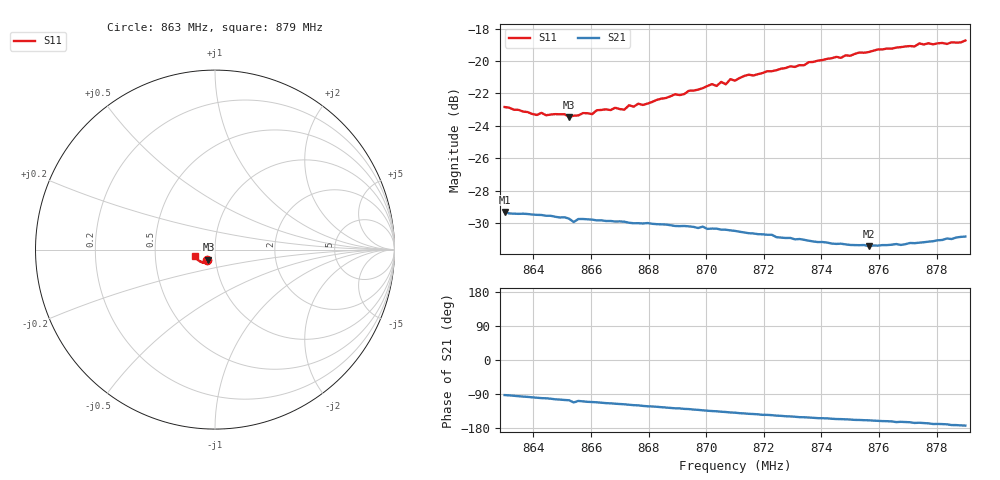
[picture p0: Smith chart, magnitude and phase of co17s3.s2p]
# HZ S RI R 50
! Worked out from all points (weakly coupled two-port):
!   101 points, 863 MHz to 879 MHz, reference 50 ohm
!   highest |S21| = -29.33 dB at 863 MHz (marker M1); lowest = -31.4 dB at 875.64 MHz (marker M2)
!   lowest |S11| = -23.4 dB at 865.24 MHz (marker M3), VSWR 1.14, Z = 46.2 - j5.26 ohm
!   |S11| at or under -10 dB: start of sweep to end of sweep
!   S12 and S22 are empty: the file has one direction only
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8.63e8  -0.0456 -0.0559  -0.00153 -0.0341  0 0  0 0
8.6412e8  -0.0398 -0.0553  -0.00553 -0.033  0 0  0 0
8.6524e8  -0.0363 -0.0566  -0.00913 -0.0313  0 0  0 0
8.654e8  -0.0369 -0.0569  -0.0119 -0.0295  0 0  0 0
8.6572e8  -0.0362 -0.0589  -0.0107 -0.0307  0 0  0 0
8.6604e8  -0.0364 -0.0582  -0.0116 -0.0303  0 0  0 0
8.662e8  -0.0383 -0.0592  -0.0119 -0.0299  0 0  0 0
8.6684e8  -0.0369 -0.0615  -0.0137 -0.0289  0 0  0 0
8.6716e8  -0.0351 -0.0615  -0.0144 -0.0285  0 0  0 0
8.6732e8  -0.0373 -0.0628  -0.0149 -0.028  0 0  0 0
8.6844e8  -0.0388 -0.066  -0.0178 -0.0258  0 0  0 0
8.702e8  -0.0451 -0.0719  -0.0214 -0.0216  0 0  0 0
8.7036e8  -0.0456 -0.0703  -0.0216 -0.0214  0 0  0 0
8.7052e8  -0.048 -0.0717  -0.0219 -0.0208  0 0  0 0
8.7068e8  -0.0471 -0.0706  -0.0221 -0.0205  0 0  0 0
8.7084e8  -0.0507 -0.0719  -0.0225 -0.0199  0 0  0 0
8.71e8  -0.0495 -0.0716  -0.0225 -0.0196  0 0  0 0
8.7148e8  -0.0543 -0.0728  -0.0232 -0.0181  0 0  0 0
8.7372e8  -0.069 -0.0716  -0.0246 -0.0128  0 0  0 0
8.7564e8  -0.0843 -0.0653  -0.0251 -0.00954  0 0  0 0
8.7644e8  -0.0915 -0.0597  -0.0258 -0.00833  0 0  0 0
8.79e8  -0.1096 -0.0375  -0.0285 -0.00347  0 0  0 0
